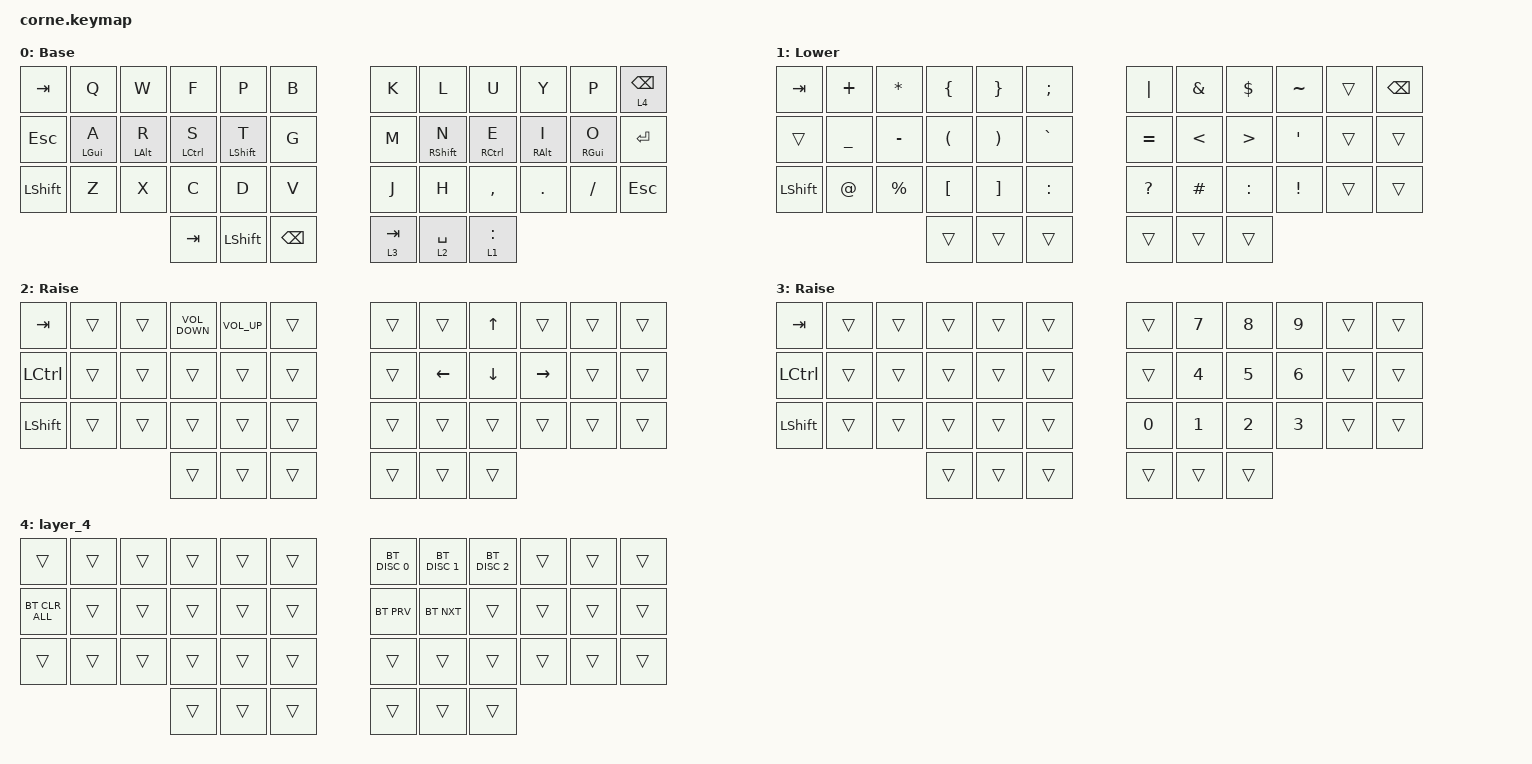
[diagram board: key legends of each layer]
/*
 * Copyright (c) 2020 The ZMK Contributors
 *
 * SPDX-License-Identifier: MIT
 */

#include <behaviors.dtsi>
#include <dt-bindings/zmk/bt.h>
#include <dt-bindings/zmk/keys.h>

&mt {
    tapping-term-ms = <170>;
    quick-tap-ms = <100>;
    flavor = "tap-preferred";
};

/ {
    keymap {
        compatible = "zmk,keymap";

        default_layer {
            // -----------------------------------------------------------------------------------------
            // |  TAB |  Q  |  W  |  E  |  R  |  T  |   |  Y  |  U   |  I  |  O  |  P  | BKSP |
            // | CTRL |  A  |  S  |  D  |  F  |  G  |   |  H  |  J   |  K  |  L  |  ;  |  '   |
            // | SHFT |  Z  |  X  |  C  |  V  |  B  |   |  N  |  M   |  ,  |  .  |  /  | ESC  |
            //                    | GUI | LWR | SPC |   | ENT | RSE  | ALT |

            display-name = "Base";
            bindings = <
&kp TAB    &kp Q       &kp W       &kp F        &kp P             &kp B            &kp K      &kp L              &kp U        &kp Y            &kp P            &lt 4 BACKSPACE
&kp ESC    &mt LGUI A  &mt LALT R  &mt LCTRL S  &mt LEFT_SHIFT T  &kp G            &kp M      &mt RIGHT_SHIFT N  &mt RCTRL E  &mt RIGHT_ALT I  &mt RIGHT_GUI O  &kp ENTER
&kp LSHFT  &kp Z       &kp X       &kp C        &kp D             &kp V            &kp J      &kp H              &kp COMMA    &kp DOT          &kp FSLH         &kp ESC
                                   &kp TAB      &kp LEFT_SHIFT    &kp BACKSPACE    &lt 3 TAB  &lt 2 SPACE        &lt 1 COLON
            >;
        };

        lower_layer {
            // -----------------------------------------------------------------------------------------
            // |  TAB |  1  |  2  |  3  |  4  |  5  |   |  6  |  7  |  8  |  9  |  0  | BKSP |
            // | BTCLR| BT1 | BT2 | BT3 | BT4 | BT5 |   | LFT | DWN |  UP | RGT |     |      |
            // | SHFT |     |     |     |     |     |   |     |     |     |     |     |      |
            //                    | GUI |     | SPC |   | ENT |     | ALT |

            display-name = "Lower";
            bindings = <
&kp TAB    &kp PLUS        &kp ASTERISK  &kp LEFT_BRACE        &kp RIGHT_BRACE        &kp SEMICOLON    &kp PIPE      &kp AMPERSAND  &kp DOLLAR        &kp TILDE        &trans  &kp BSPC
&trans     &kp UNDERSCORE  &kp MINUS     &kp LEFT_PARENTHESIS  &kp RIGHT_PARENTHESIS  &kp GRAVE        &kp EQUAL     &kp LESS_THAN  &kp GREATER_THAN  &kp SQT          &trans  &trans
&kp LSHFT  &kp AT_SIGN     &kp PERCENT   &kp LEFT_BRACKET      &kp RIGHT_BRACKET      &kp COLON        &kp QUESTION  &kp HASH       &kp COLON         &kp EXCLAMATION  &trans  &trans
                                         &trans                &trans                 &trans           &trans        &trans         &trans
            >;
        };

        raise_layer {
            // -----------------------------------------------------------------------------------------
            // |  TAB |  !  |  @  |  #  |  $  |  %  |   |  ^  |  &  |  *  |  (  |  )  | BKSP |
            // | CTRL |     |     |     |     |     |   |  -  |  =  |  [  |  ]  |  \  |  `   |
            // | SHFT |     |     |     |     |     |   |  _  |  +  |  {  |  }  | "|" |  ~   |
            //                    | GUI |     | SPC |   | ENT |     | ALT |

            display-name = "Raise";
            bindings = <
&kp TAB    &trans  &trans  &kp C_VOLUME_DOWN  &kp C_VOLUME_UP  &trans    &trans  &trans          &kp UP_ARROW    &trans           &trans  &trans
&kp LCTRL  &trans  &trans  &trans             &trans           &trans    &trans  &kp LEFT_ARROW  &kp DOWN_ARROW  &kp RIGHT_ARROW  &trans  &trans
&kp LSHFT  &trans  &trans  &trans             &trans           &trans    &trans  &trans          &trans          &trans           &trans  &trans
                           &trans             &trans           &trans    &trans  &trans          &trans
            >;
        };

        layer_6 {
            display-name = "Raise";
            bindings = <
&kp TAB    &trans  &trans  &trans  &trans  &trans    &trans        &kp NUMBER_7  &kp NUMBER_8  &kp NUMBER_9  &trans  &trans
&kp LCTRL  &trans  &trans  &trans  &trans  &trans    &trans        &kp NUMBER_4  &kp NUMBER_5  &kp NUMBER_6  &trans  &trans
&kp LSHFT  &trans  &trans  &trans  &trans  &trans    &kp NUMBER_0  &kp NUMBER_1  &kp NUMBER_2  &kp NUMBER_3  &trans  &trans
                           &trans  &trans  &trans    &trans        &trans        &trans
            >;
        };

        layer_4 {
            bindings = <
&trans          &trans  &trans  &trans  &trans  &trans    &bt BT_DISC 0  &bt BT_DISC 1  &bt BT_DISC 2  &trans  &trans  &trans
&bt BT_CLR_ALL  &trans  &trans  &trans  &trans  &trans    &bt BT_PRV     &bt BT_NXT     &trans         &trans  &trans  &trans
&trans          &trans  &trans  &trans  &trans  &trans    &trans         &trans         &trans         &trans  &trans  &trans
                                &trans  &trans  &trans    &trans         &trans         &trans
            >;
        };
    };
};
